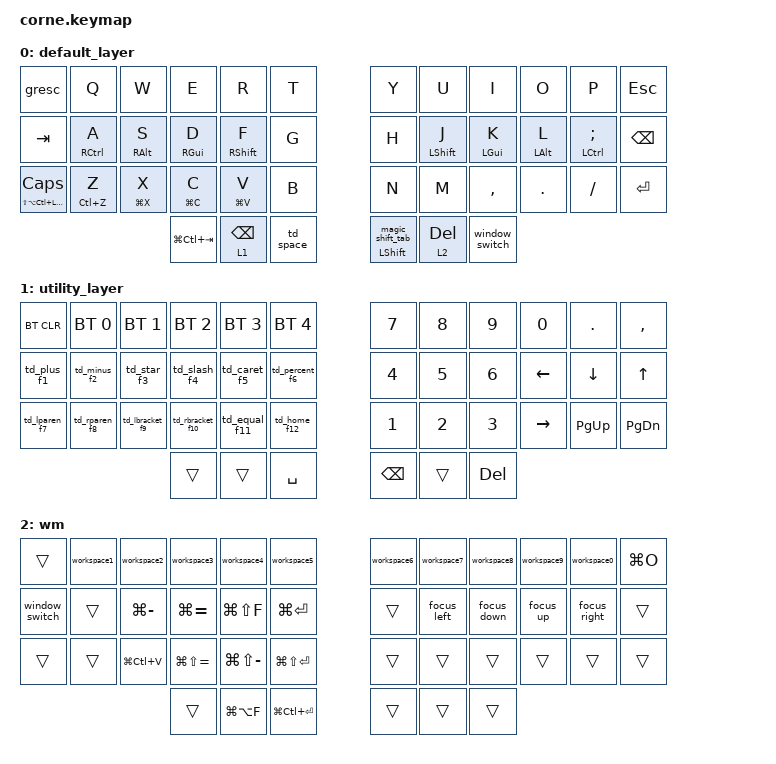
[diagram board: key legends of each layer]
/*
 * Copyright (c) 2020 The ZMK Contributors
 *
 * SPDX-License-Identifier: MIT
 */

#include <behaviors.dtsi>
#include <dt-bindings/zmk/bt.h>
#include <dt-bindings/zmk/keys.h>
#include "zmk-helpers/key-labels/42.h"

#define KEYS_L LT0 LT1 LT2 LT3 LT4 LT5 LM0 LM1 LM2 LM3 LM4 LM5 LB0 LB1 LB2 LB3 LB4 LB5 // Left-hand keys.
#define KEYS_R RT0 RT1 RT2 RT3 RT4 RT5 RM0 RM1 RM2 RM3 RM4 RM5 RB0 RB1 RB2 RB3 RB4 RB5 // Right-hand keys.
#define THUMBS LH2 LH1 LH0 RH0 RH1 RH2                                                 // Thumb keys.

/ {
    combos {
        compatible = "zmk,combos";

        exclam {
            bindings = <&kp EXCL>;
            key-positions = <13 1>;
            timeout-ms = <18>;
            layers = <0>;
            require-prior-idle-ms = <150>;
        };

        at {
            bindings = <&kp AT_SIGN>;
            key-positions = <14 2>;
            timeout-ms = <18>;
            layers = <0>;
            require-prior-idle-ms = <150>;
        };

        hash {
            bindings = <&kp HASH>;
            key-positions = <15 3>;
            timeout-ms = <18>;
            layers = <0>;
            require-prior-idle-ms = <150>;
        };

        dllr {
            bindings = <&kp DOLLAR>;
            key-positions = <4 16>;
            timeout-ms = <18>;
            layers = <0>;
            require-prior-idle-ms = <150>;
        };

        prcnt {
            bindings = <&kp PERCENT>;
            key-positions = <5 17>;
            timeout-ms = <18>;
            layers = <0>;
            require-prior-idle-ms = <150>;
        };

        caret {
            bindings = <&kp CARET>;
            key-positions = <18 6>;
            timeout-ms = <30>;
            layers = <0>;
            require-prior-idle-ms = <50>;
        };

        amps {
            bindings = <&kp AMPS>;
            key-positions = <7 19>;
            timeout-ms = <30>;
            layers = <0>;
            require-prior-idle-ms = <50>;
        };

        star {
            bindings = <&kp STAR>;
            key-positions = <8 20>;
            timeout-ms = <30>;
            layers = <0>;
            require-prior-idle-ms = <50>;
        };

        plus {
            bindings = <&kp PLUS>;
            key-positions = <9 21>;
            timeout-ms = <30>;
            layers = <0>;
            require-prior-idle-ms = <50>;
        };

        equal {
            bindings = <&kp EQUAL>;
            key-positions = <22 10>;
            timeout-ms = <30>;
            layers = <0>;
            require-prior-idle-ms = <50>;
        };

        minus {
            bindings = <&kp MINUS>;
            key-positions = <21 33>;
            timeout-ms = <30>;
            layers = <0>;
            require-prior-idle-ms = <50>;
        };

        slash {
            bindings = <&kp SLASH>;
            key-positions = <20 32>;
            timeout-ms = <30>;
            layers = <0>;
            require-prior-idle-ms = <50>;
        };

        pipe {
            bindings = <&kp PIPE>;
            key-positions = <19 31>;
            timeout-ms = <30>;
            layers = <0>;
            require-prior-idle-ms = <50>;
        };

        udscr {
            bindings = <&kp UNDERSCORE>;
            key-positions = <18 30>;
            timeout-ms = <30>;
            layers = <0>;
            require-prior-idle-ms = <50>;
        };

        tilde {
            bindings = <&kp TILDE>;
            key-positions = <17 29>;
            timeout-ms = <18>;
            layers = <0>;
            require-prior-idle-ms = <150>;
        };

        grave {
            bindings = <&kp GRAVE>;
            key-positions = <16 28>;
            timeout-ms = <18>;
            layers = <0>;
            require-prior-idle-ms = <150>;
        };

        bslh {
            bindings = <&kp BSLH>;
            key-positions = <15 27>;
            timeout-ms = <18>;
            layers = <0>;
            require-prior-idle-ms = <150>;
        };

        apos {
            bindings = <&kp APOS>;
            key-positions = <13 25>;
            timeout-ms = <18>;
            layers = <0>;
            require-prior-idle-ms = <150>;
        };

        quote {
            bindings = <&kp DQT>;
            key-positions = <14 26>;
            timeout-ms = <18>;
            layers = <0>;
            require-prior-idle-ms = <150>;
        };

        lbrace {
            bindings = <&kp LEFT_BRACE>;
            key-positions = <13 14>;
            timeout-ms = <18>;
            layers = <0>;
            require-prior-idle-ms = <150>;
        };

        rbrace {
            bindings = <&kp RIGHT_BRACE>;
            key-positions = <14 15>;
            timeout-ms = <18>;
            layers = <0>;
            require-prior-idle-ms = <150>;
        };

        lbrket {
            bindings = <&kp LEFT_BRACKET>;
            key-positions = <15 16>;
            timeout-ms = <18>;
            layers = <0>;
            require-prior-idle-ms = <150>;
        };

        rbrket {
            bindings = <&kp RIGHT_BRACKET>;
            key-positions = <16 17>;
            timeout-ms = <18>;
            layers = <0>;
            require-prior-idle-ms = <150>;
        };

        lpar {
            bindings = <&kp LEFT_PARENTHESIS>;
            key-positions = <18 19>;
            timeout-ms = <30>;
            layers = <0>;
            require-prior-idle-ms = <50>;
        };

        rpar {
            bindings = <&kp RIGHT_PARENTHESIS>;
            key-positions = <19 20>;
            timeout-ms = <30>;
            layers = <0>;
            require-prior-idle-ms = <50>;
        };

        nm_Return {
            bindings = <&kp ENTER>;
            key-positions = <30 31>;
        };

        vb_Return {
            bindings = <&kp ENTER>;
            key-positions = <28 29>;
        };
    };

    macros {
        period_space_shift: period_space_shift {
            compatible = "zmk,behavior-macro";
            label = "period space + sticky shift";
            bindings = <&kp DOT &kp SPACE>;
            #binding-cells = <0>;
        };
    };

    keymap {
        compatible = "zmk,keymap";

        default_layer {
            // -----------------------------------------------------------------------------------------
            // |  TAB |  Q  |  W  |  E  |  R  |  T  |   |  Y  |  U   |  I  |  O  |  P  | BKSP |
            // | CTRL |  A  |  S  |  D  |  F  |  G  |   |  H  |  J   |  K  |  L  |  ;  |  '   |
            // | SHFT |  Z  |  X  |  C  |  V  |  B  |   |  N  |  M   |  ,  |  .  |  /  | ESC  |
            //                    | TAB | UTIL| SPC |   | ENT |  WM  | F18 |

            bindings = <
&gresc                     &kp Q               &kp W               &kp E               &kp R                    &kp T        &kp Y                 &kp U              &kp I           &kp O        &kp P            &kp ESC
&kp TAB                    &hml RCTRL A        &hml RALT S         &hml RGUI D         &hmShiftL RIGHT_SHIFT F  &kp G        &kp H                 &hmShiftR LSHFT J  &hmr LGUI K     &hmr LALT L  &hmr LCTRL SEMI  &kp BACKSPACE
&mt LS(LA(LC(LGUI))) CAPS  &longPress LC(Z) Z  &longPress LG(X) X  &longPress LG(C) C  &longPress LG(V) V       &kp B        &kp N                 &kp M              &kp COMMA       &kp DOT      &kp FSLH         &kp ENTER
                                                                   &kp LG(LC(TAB))     &lt 1 BACKSPACE          &td_space    &magic_thumb LSHFT 0  &lt 2 DEL          &window_switch
            >;
        };

        utility_layer {
            // Tap symbol/navigation; double-tap left-side symbol key = F1-F12.
            // | BTCLR| BT0 | BT1 | BT2 | BT3 | BT4 |   |  7  |  8  |  9  |  0  |  .  |  ,   |
            // |  +   |  -  |  *  |  /  |  ^  |  %  |   |  4  |  5  |  6  | LFT | DWN |  UP  |
            // |  (   |  )  |  [  |  ]  |  =  | HOME|   |  1  |  2  |  3  | RGT | PGU | PGD  |
            // thumbs: trans | trans | SPACE | RSHFT | trans | BSPC

            bindings = <
&bt BT_CLR     &bt BT_SEL 0   &bt BT_SEL 1     &bt BT_SEL 2      &bt BT_SEL 3   &bt BT_SEL 4      &kp N7    &kp N8  &kp N9   &kp N0     &kp DOT      &kp COMMA
&td_plus_f1    &td_minus_f2   &td_star_f3      &td_slash_f4      &td_caret_f5   &td_percent_f6    &kp N4    &kp N5  &kp N6   &kp LEFT   &kp DOWN     &kp UP
&td_lparen_f7  &td_rparen_f8  &td_lbracket_f9  &td_rbracket_f10  &td_equal_f11  &td_home_f12      &kp N1    &kp N2  &kp N3   &kp RIGHT  &kp PAGE_UP  &kp PAGE_DOWN
                                               &trans            &trans         &kp SPACE         &kp BSPC  &trans  &kp DEL
            >;
        };

        wm {
            bindings = <
&trans          &workspace1  &workspace2    &workspace3        &workspace4        &workspace5        &workspace6  &workspace7  &workspace8  &workspace9  &workspace0   &kp LG(O)
&window_switch  &trans       &kp LG(MINUS)  &kp LG(EQUAL)      &kp LG(LS(F))      &kp LG(RET)        &trans       &focus_left  &focus_down  &focus_up    &focus_right  &trans
&trans          &trans       &kp LG(LC(V))  &kp LG(LS(EQUAL))  &kp LG(LS(MINUS))  &kp LG(LS(RET))    &trans       &trans       &trans       &trans       &trans        &trans
                                            &trans             &kp LG(LA(F))      &kp LG(LC(RET))    &trans       &trans       &trans
            >;
        };
    };
};

/ {
    behaviors {
        hml: home_row_mod_left {
            compatible = "zmk,behavior-hold-tap";
            #binding-cells = <2>;
            flavor = "balanced";
            require-prior-idle-ms = <150>;
            tapping-term-ms = <280>;
            quick-tap-ms = <175>;
            bindings = <&kp>, <&kp>;

            hold-trigger-key-positions = <6 7 8 9 10 11 18 19 20 21 22 23 30 31 32 33 34 35 39 40 41 36 37 38>; // List of keys on the right side of the keyboard
            hold-trigger-on-release;
        };

        hmr: home_row_mod_right {
            compatible = "zmk,behavior-hold-tap";
            #binding-cells = <2>;
            flavor = "balanced";
            require-prior-idle-ms = <150>;
            tapping-term-ms = <280>;
            quick-tap-ms = <175>;
            bindings = <&kp>, <&kp>;

            hold-trigger-key-positions = <0 1 2 3 4 5 12 13 14 15 16 17 24 25 26 27 28 29 36 37 38 39 40 41>; // List of keys on the left side of the keyboard
            hold-trigger-on-release;
        };
    };
};

/ {
    behaviors {
        hmShiftR: hmShiftR {
            compatible = "zmk,behavior-hold-tap";
            label = "HMSHIFTR";
            bindings = <&kp>, <&kp>;

            #binding-cells = <2>;
            tapping-term-ms = <200>;
            hold-while-undecided;
            hold-trigger-on-release;
            hold-trigger-key-positions = <0 1 2 3 4 5 12 13 14 15 16 17 24 25 26 27 28 29 36 37 38>;
        };

        hmShiftL: hmShiftL {
            compatible = "zmk,behavior-hold-tap";
            label = "HMSHIFTL";
            bindings = <&kp>, <&kp>;

            #binding-cells = <2>;
            tapping-term-ms = <200>;
            hold-while-undecided;
            hold-trigger-on-release;
            hold-trigger-key-positions = <6 7 8 9 10 11 18 19 20 21 22 23 30 31 32 33 34 35 39 40 41>;
        };

        longPress: longPress {
            compatible = "zmk,behavior-hold-tap";
            label = "LONGPRESS";
            bindings = <&kp>, <&kp>;

            #binding-cells = <2>;
            tapping-term-ms = <350>;
            flavor = "tap-preferred";
        };

        td_plus_f1: td_plus_f1 {
            compatible = "zmk,behavior-tap-dance";
            label = "TD_PLUS_F1";
            #binding-cells = <0>;
            bindings = <&kp PLUS>, <&kp F1>;

            tapping-term-ms = <220>;
        };

        td_minus_f2: td_minus_f2 {
            compatible = "zmk,behavior-tap-dance";
            label = "TD_MINUS_F2";
            #binding-cells = <0>;
            bindings = <&hml LCTRL MINUS>, <&kp F2>;

            tapping-term-ms = <220>;
        };

        td_star_f3: td_star_f3 {
            compatible = "zmk,behavior-tap-dance";
            label = "TD_STAR_F3";
            #binding-cells = <0>;
            bindings = <&hml LALT STAR>, <&kp F3>;

            tapping-term-ms = <220>;
        };

        td_slash_f4: td_slash_f4 {
            compatible = "zmk,behavior-tap-dance";
            label = "TD_SLASH_F4";
            #binding-cells = <0>;
            bindings = <&hml LGUI SLASH>, <&kp F4>;

            tapping-term-ms = <220>;
        };

        td_caret_f5: td_caret_f5 {
            compatible = "zmk,behavior-tap-dance";
            label = "TD_CARET_F5";
            #binding-cells = <0>;
            bindings = <&hmShiftL LSHFT CARET>, <&kp F5>;

            tapping-term-ms = <220>;
        };

        td_percent_f6: td_percent_f6 {
            compatible = "zmk,behavior-tap-dance";
            label = "TD_PERCENT_F6";
            #binding-cells = <0>;
            bindings = <&kp PERCENT>, <&kp F6>;

            tapping-term-ms = <220>;
        };

        td_lparen_f7: td_lparen_f7 {
            compatible = "zmk,behavior-tap-dance";
            label = "TD_LPAREN_F7";
            #binding-cells = <0>;
            bindings = <&kp LEFT_PARENTHESIS>, <&kp F7>;

            tapping-term-ms = <220>;
        };

        td_rparen_f8: td_rparen_f8 {
            compatible = "zmk,behavior-tap-dance";
            label = "TD_RPAREN_F8";
            #binding-cells = <0>;
            bindings = <&kp RIGHT_PARENTHESIS>, <&kp F8>;

            tapping-term-ms = <220>;
        };

        td_lbracket_f9: td_lbracket_f9 {
            compatible = "zmk,behavior-tap-dance";
            label = "TD_LBRACKET_F9";
            #binding-cells = <0>;
            bindings = <&kp LEFT_BRACKET>, <&kp F9>;

            tapping-term-ms = <220>;
        };

        td_rbracket_f10: td_rbracket_f10 {
            compatible = "zmk,behavior-tap-dance";
            label = "TD_RBRACKET_F10";
            #binding-cells = <0>;
            bindings = <&kp RIGHT_BRACKET>, <&kp F10>;

            tapping-term-ms = <220>;
        };

        td_equal_f11: td_equal_f11 {
            compatible = "zmk,behavior-tap-dance";
            label = "TD_EQUAL_F11";
            #binding-cells = <0>;
            bindings = <&kp EQUAL>, <&kp F11>;

            tapping-term-ms = <220>;
        };

        td_home_f12: td_home_f12 {
            compatible = "zmk,behavior-tap-dance";
            label = "TD_HOME_F12";
            #binding-cells = <0>;
            bindings = <&kp HOME>, <&kp F12>;

            tapping-term-ms = <220>;
        };

        workspace1: workspace1 {
            compatible = "zmk,behavior-tap-dance";
            label = "WORKSPACE_1";
            #binding-cells = <0>;
            bindings = <&kp LG(N1)>, <&kp LG(LS(N1))>;

            tapping-term-ms = <280>;
        };

        workspace2: workspace2 {
            compatible = "zmk,behavior-tap-dance";
            label = "WORKSPACE_2";
            #binding-cells = <0>;
            bindings = <&kp LG(N2)>, <&kp LG(LS(N2))>;

            tapping-term-ms = <280>;
        };

        workspace3: workspace3 {
            compatible = "zmk,behavior-tap-dance";
            label = "WORKSPACE_3";
            #binding-cells = <0>;
            bindings = <&kp LG(N3)>, <&kp LG(LS(N3))>;

            tapping-term-ms = <280>;
        };

        workspace4: workspace4 {
            compatible = "zmk,behavior-tap-dance";
            label = "WORKSPACE_4";
            #binding-cells = <0>;
            bindings = <&kp LG(N4)>, <&kp LG(LS(N4))>;

            tapping-term-ms = <280>;
        };

        workspace5: workspace5 {
            compatible = "zmk,behavior-tap-dance";
            label = "WORKSPACE_5";
            #binding-cells = <0>;
            bindings = <&kp LG(N5)>, <&kp LG(LS(N5))>;

            tapping-term-ms = <280>;
        };

        workspace6: workspace6 {
            compatible = "zmk,behavior-tap-dance";
            label = "WORKSPACE_6";
            #binding-cells = <0>;
            bindings = <&kp LG(N6)>, <&kp LG(LS(N6))>;

            tapping-term-ms = <280>;
        };

        workspace7: workspace7 {
            compatible = "zmk,behavior-tap-dance";
            label = "WORKSPACE_7";
            #binding-cells = <0>;
            bindings = <&kp LG(N7)>, <&kp LG(LS(N7))>;

            tapping-term-ms = <280>;
        };

        workspace8: workspace8 {
            compatible = "zmk,behavior-tap-dance";
            label = "WORKSPACE_8";
            #binding-cells = <0>;
            bindings = <&kp LG(N8)>, <&kp LG(LS(N8))>;

            tapping-term-ms = <280>;
        };

        workspace9: workspace9 {
            compatible = "zmk,behavior-tap-dance";
            label = "WORKSPACE_9";
            #binding-cells = <0>;
            bindings = <&kp LG(N9)>, <&kp LG(LS(N9))>;

            tapping-term-ms = <280>;
        };

        workspace0: workspace0 {
            compatible = "zmk,behavior-tap-dance";
            label = "WORKSPACE_0";
            #binding-cells = <0>;
            bindings = <&kp LG(N0)>, <&kp LG(LS(N0))>;

            tapping-term-ms = <280>;
        };

        window_switch: window_switch {
            compatible = "zmk,behavior-tap-dance";
            label = "WINDOW_SWITCH";
            #binding-cells = <0>;
            bindings = <&kp LA(TAB)>, <&kp LA(LS(TAB))>;

            tapping-term-ms = <280>;
        };

        focus_left: focus_left {
            compatible = "zmk,behavior-tap-dance";
            label = "FOCUS_LEFT";
            #binding-cells = <0>;
            bindings = <&kp LG(H)>, <&kp LG(LS(H))>;

            tapping-term-ms = <280>;
        };

        focus_down: focus_down {
            compatible = "zmk,behavior-tap-dance";
            label = "FOCUS_DOWN";
            #binding-cells = <0>;
            bindings = <&kp LG(J)>, <&kp LG(LS(J))>;

            tapping-term-ms = <280>;
        };

        focus_up: focus_up {
            compatible = "zmk,behavior-tap-dance";
            label = "FOCUS_UP";
            #binding-cells = <0>;
            bindings = <&kp LG(K)>, <&kp LG(LS(K))>;

            tapping-term-ms = <280>;
        };

        focus_right: focus_right {
            compatible = "zmk,behavior-tap-dance";
            label = "FOCUS_RIGHT";
            #binding-cells = <0>;
            bindings = <&kp LG(L)>, <&kp LG(LS(L))>;

            tapping-term-ms = <280>;
        };

        shift_repeat: shift_repeat {
            compatible = "zmk,behavior-adaptive-key";
            #binding-cells = <0>;
            bindings = <&sk LSHFT>;

            repeat {
                trigger-keys = <A B C D E F G H I J K L M N O P Q R S T U V W X Y Z>;
                bindings = <&key_repeat>;
                max-prior-idle-ms = <1200>;
                strict-modifiers;
            };
        };

        magic_thumb: magic_thumb {
            compatible = "zmk,behavior-hold-tap";
            label = "MAGIC_THUMB";
            bindings = <&kp>, <&magic_shift_tab>;

            #binding-cells = <2>;
            tapping-term-ms = <200>;
            flavor = "balanced";
            quick-tap-ms = <175>;
        };

        magic_shift_tab: magic_shift_tab {
            compatible = "zmk,behavior-mod-morph";
            label = "MAGIC_SHIFT_TAB";
            bindings = <&shift_repeat>, <&caps_word>;

            #binding-cells = <0>;
            mods = <(MOD_LSFT)>;
        };

        td_space: td_space {
            compatible = "zmk,behavior-tap-dance";
            label = "TD_SPACE";
            #binding-cells = <0>;
            bindings = <&kp SPACE>, <&period_space_shift>;

            tapping-term-ms = <220>;
        };
    };
};
